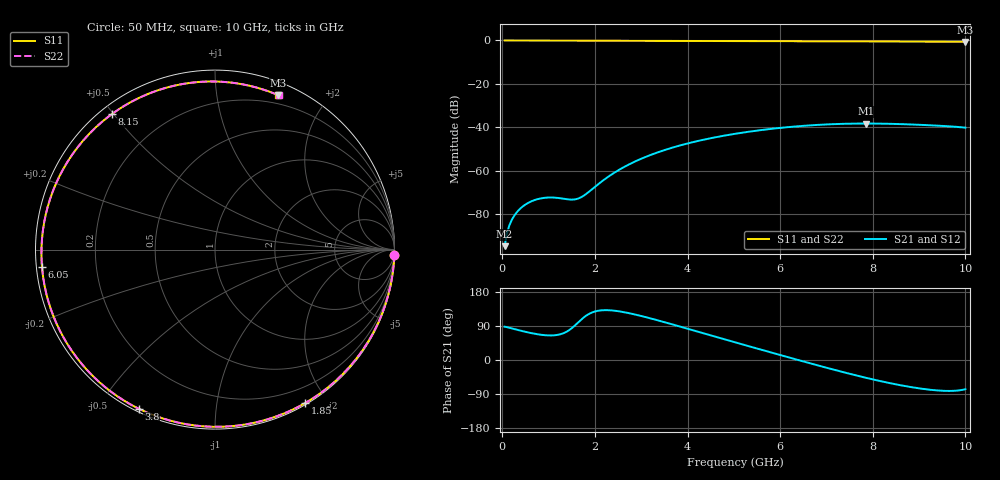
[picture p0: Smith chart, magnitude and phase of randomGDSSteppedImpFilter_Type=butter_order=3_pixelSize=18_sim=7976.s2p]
! freq	dB(S11)	phase(S11)	dB(S12)	phase(S12)
!  dB(S21)	phase(S21)	dB(S22)	phase(S22)
!S-par simulation data
#  GHz  S  DB  R 50
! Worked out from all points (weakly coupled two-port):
!   200 points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, 50 MHz to 10 GHz, reference 50 ohm
!   highest |S21| = -38.22 dB at 7.85 GHz (marker M1); lowest = -94.6 dB at 50 MHz (marker M2)
!   lowest |S11| = -0.6 dB at 10 GHz (marker M3), VSWR 27.39, Z = 5.85 + j74 ohm
!   |S11| at or under -10 dB: nowhere
!   |S22| runs from -0.6 to 0.0 dB; largest |S21 - S12| = 0
!   S11 on the Smith chart (normalised r, x): 50 MHz: 0, -68; 1.85 GHz: 0.02, -1.74; 3.8 GHz: 0.01, -0.63; 6.05 GHz: 0.02, -0.05; 8.15 GHz: 0.03, +0.49; 10 GHz: 0.12, +1.48
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0.05  -0.00 -1.7  -94.64 87.8  -94.64 87.8  -0.00 -1.7
0.25  -0.01 -8.3  -80.89 81.9  -80.89 81.9  -0.01 -8.3
0.5  -0.02 -16.6  -75.49 74.3  -75.49 74.3  -0.02 -16.6
0.8  -0.03 -26.4  -72.80 67.2  -72.80 67.2  -0.03 -26.4
1.05  -0.04 -34.5  -72.23 64.8  -72.23 64.8  -0.04 -34.5
1.55  -0.06 -50.4  -73.17 89.1  -73.17 89.1  -0.06 -50.4
1.75  -0.07 -56.6  -71.52 111.4  -71.52 111.4  -0.07 -56.6
1.85  -0.07 -59.7  -69.98 120.0  -69.98 120.0  -0.07 -59.7
2.25  -0.09 -71.8  -63.27 131.6  -63.27 131.6  -0.09 -71.8
2.55  -0.10 -80.7  -59.17 127.9  -59.17 127.9  -0.10 -80.7
3.4  -0.13 -104.8  -51.16 103.3  -51.16 103.3  -0.13 -104.8
3.8  -0.15 -115.7  -48.53 89.6  -48.53 89.6  -0.15 -115.7
4.45  -0.18 -132.9  -45.19 66.8  -45.19 66.8  -0.18 -132.9
5.05  -0.21 -148.5  -42.87 45.8  -42.87 45.8  -0.21 -148.6
6.05  -0.28 -174.4  -40.12 11.5  -40.12 11.5  -0.28 -174.5
6.7  -0.33 168.4  -38.99 -10.5  -38.99 -10.5  -0.33 168.3
7.25  -0.37 153.4  -38.43 -28.5  -38.43 -28.5  -0.37 153.2
7.85  -0.43 136.3  -38.22 -46.9  -38.22 -46.9  -0.43 136.1
8.15  -0.46 127.4  -38.26 -55.3  -38.26 -55.3  -0.46 127.2
8.35  -0.48 121.4  -38.34 -60.6  -38.34 -60.6  -0.48 121.1
9.2  -0.56 94.5  -38.99 -78.0  -38.99 -78.0  -0.56 94.2
10  -0.63 67.8  -40.14 -77.1  -40.14 -77.1  -0.64 67.5
